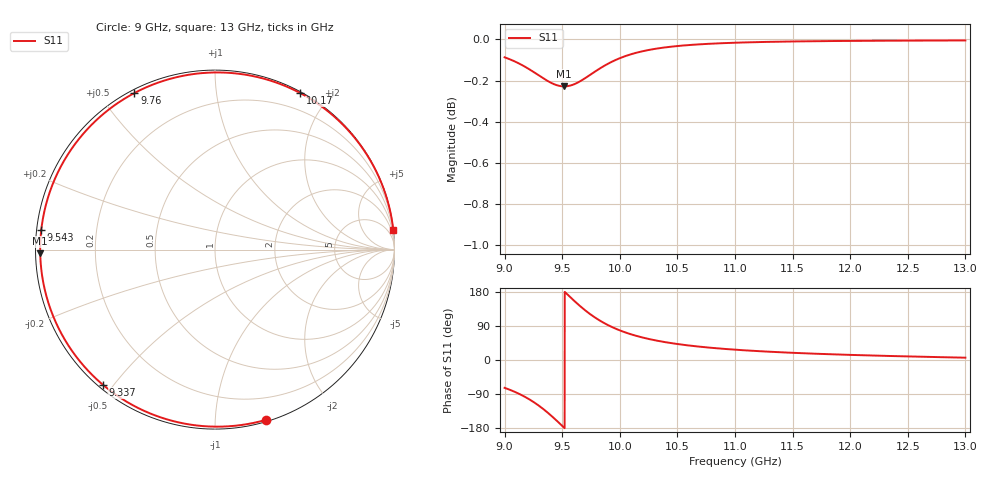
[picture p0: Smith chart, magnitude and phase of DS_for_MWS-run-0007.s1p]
! TOUCHSTONE file generated by CST DESIGN STUDIO
! Date and time: Tue Feb  4 13:01:03 2025
! Project name: C:\Work\MatlabApps\UnitCellOptimizationMatlab\CST\unitcell.cst
! Tree item: Tasks\Sweep1\SPara1\S-Parameters
! Header version: 2024
! Port assignment regex: !\s*Touchstone port\s*([0-9]+)\s*=\s*(CST MWS port|CST DES external port|CST DES block port)\s*(.+)\s* \(\"(.*)\"\)(\s*mode\s*([0-9]+))?.*
! Touchstone port assignment:
! Touchstone port 1 = CST DES external port 1 ("")
# GHz S MA R 50
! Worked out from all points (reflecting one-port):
!   4001 points, 9 GHz to 13 GHz, reference 50 ohm
!   lowest |S11| = -0.2 dB at 9.517 GHz (marker M1), VSWR 76.09, Z = 0.657 - j0.525 ohm
!   phase of S11 starts at -73 deg and turns -280 deg over the sweep
!   S11 on the Smith chart (normalised r, x): 9 GHz: 0.01, -1.34; 9.337 GHz: 0.01, -0.47; 9.543 GHz: 0.01, +0.06; 9.76 GHz: 0.01, +0.61; 10.17 GHz: 0.01, +1.68; 13 GHz: 0, +19
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9  0.99 -73.4
9.091  0.9877 -84.4
9.196  0.9841 -100.5
9.27  0.9812 -114.7
9.337  0.9784 -129.7
9.381  0.9768 -140.7
9.427  0.9753 -153.0
9.464  0.9745 -163.4
9.5  0.9741 -173.8
9.517  0.9741 -178.8
9.543  0.9742 173.6
9.597  0.9751 158.1
9.657  0.9769 141.8
9.708  0.9789 129.0
9.76  0.9811 117.2
9.81  0.9832 107.1
9.865  0.9853 97.3
10  0.9896 78.2
10.082  0.9914 69.3
10.171  0.993 61.4
10.321  0.9949 51.1
10.5  0.9963 42.2
10.722  0.9974 34.2
11  0.9982 27.2
11.5  0.9989 19.0
12  0.9992 13.5
12.5  0.9993 9.4
13  0.9994 6.1
